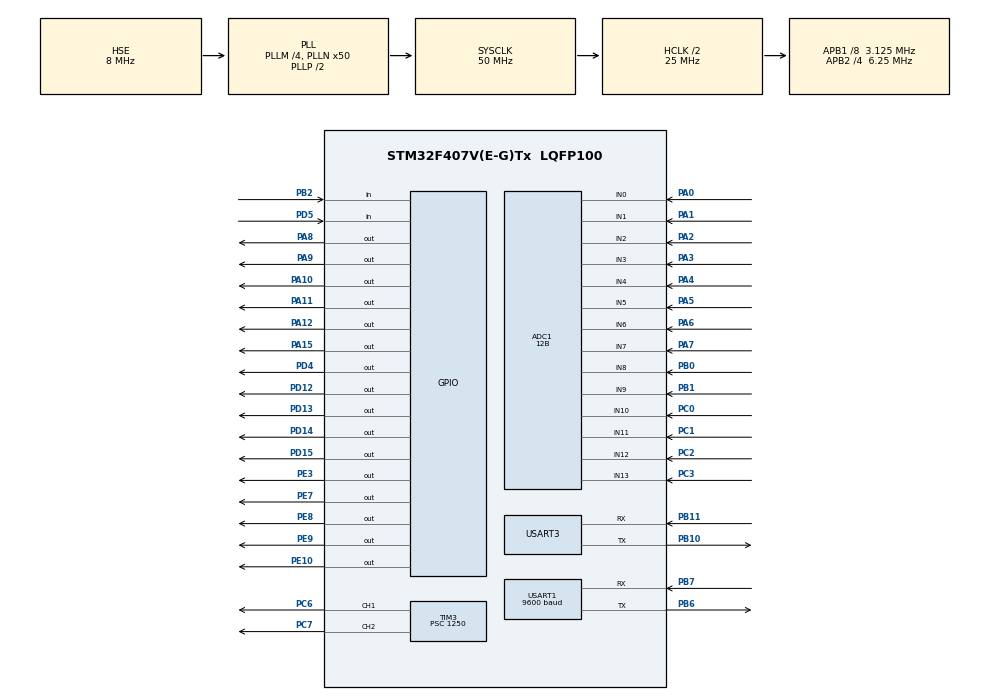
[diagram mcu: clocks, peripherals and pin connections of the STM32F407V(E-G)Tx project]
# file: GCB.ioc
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ADC1.Channel-10\#ChannelRegularConversion=ADC_CHANNEL_2
ADC1.Channel-11\#ChannelRegularConversion=ADC_CHANNEL_3
ADC1.Channel-12\#ChannelRegularConversion=ADC_CHANNEL_4
ADC1.Channel-13\#ChannelRegularConversion=ADC_CHANNEL_5
ADC1.Channel-14\#ChannelRegularConversion=ADC_CHANNEL_6
ADC1.Channel-15\#ChannelRegularConversion=ADC_CHANNEL_7
ADC1.Channel-16\#ChannelRegularConversion=ADC_CHANNEL_8
ADC1.Channel-17\#ChannelRegularConversion=ADC_CHANNEL_9
ADC1.Channel-18\#ChannelRegularConversion=ADC_CHANNEL_10
ADC1.Channel-19\#ChannelRegularConversion=ADC_CHANNEL_11
ADC1.Channel-20\#ChannelRegularConversion=ADC_CHANNEL_12
ADC1.Channel-21\#ChannelRegularConversion=ADC_CHANNEL_13
ADC1.Channel-4\#ChannelRegularConversion=ADC_CHANNEL_0
ADC1.Channel-9\#ChannelRegularConversion=ADC_CHANNEL_1
ADC1.ClockPrescaler=ADC_CLOCK_SYNC_PCLK_DIV2
ADC1.ContinuousConvMode=ENABLE
ADC1.DMAContinuousRequests=ENABLE
ADC1.DataAlign=ADC_DATAALIGN_RIGHT
ADC1.DiscontinuousConvMode=DISABLE
ADC1.EOCSelection=ADC_EOC_SINGLE_CONV
ADC1.EnableAnalogWatchDog=false
ADC1.ExternalTrigConv=ADC_SOFTWARE_START
ADC1.ExternalTrigConvEdge=ADC_EXTERNALTRIGCONVEDGE_NONE
ADC1.InjNumberOfConversion=0
ADC1.NbrOfConversion=14
ADC1.NbrOfConversionFlag=1
ADC1.Rank-10\#ChannelRegularConversion=3
ADC1.Rank-11\#ChannelRegularConversion=4
ADC1.Rank-12\#ChannelRegularConversion=5
ADC1.Rank-13\#ChannelRegularConversion=6
ADC1.Rank-14\#ChannelRegularConversion=7
ADC1.Rank-15\#ChannelRegularConversion=8
ADC1.Rank-16\#ChannelRegularConversion=9
ADC1.Rank-17\#ChannelRegularConversion=10
ADC1.Rank-18\#ChannelRegularConversion=11
ADC1.Rank-19\#ChannelRegularConversion=12
ADC1.Rank-20\#ChannelRegularConversion=13
ADC1.Rank-21\#ChannelRegularConversion=14
ADC1.Rank-4\#ChannelRegularConversion=1
ADC1.Rank-9\#ChannelRegularConversion=2
ADC1.Resolution=ADC_RESOLUTION_12B
ADC1.SamplingTime-10\#ChannelRegularConversion=ADC_SAMPLETIME_84CYCLES
ADC1.SamplingTime-11\#ChannelRegularConversion=ADC_SAMPLETIME_84CYCLES
ADC1.SamplingTime-12\#ChannelRegularConversion=ADC_SAMPLETIME_84CYCLES
ADC1.SamplingTime-13\#ChannelRegularConversion=ADC_SAMPLETIME_84CYCLES
ADC1.SamplingTime-14\#ChannelRegularConversion=ADC_SAMPLETIME_84CYCLES
ADC1.SamplingTime-15\#ChannelRegularConversion=ADC_SAMPLETIME_84CYCLES
ADC1.SamplingTime-16\#ChannelRegularConversion=ADC_SAMPLETIME_84CYCLES
ADC1.SamplingTime-17\#ChannelRegularConversion=ADC_SAMPLETIME_84CYCLES
ADC1.SamplingTime-18\#ChannelRegularConversion=ADC_SAMPLETIME_84CYCLES
ADC1.SamplingTime-19\#ChannelRegularConversion=ADC_SAMPLETIME_84CYCLES
ADC1.SamplingTime-20\#ChannelRegularConversion=ADC_SAMPLETIME_84CYCLES
ADC1.SamplingTime-21\#ChannelRegularConversion=ADC_SAMPLETIME_84CYCLES
ADC1.SamplingTime-4\#ChannelRegularConversion=ADC_SAMPLETIME_84CYCLES
ADC1.SamplingTime-9\#ChannelRegularConversion=ADC_SAMPLETIME_84CYCLES
ADC1.ScanConvMode=ENABLE
ADC1.master=1
Dma.ADC1.0.Direction=DMA_PERIPH_TO_MEMORY
Dma.ADC1.0.FIFOMode=DMA_FIFOMODE_DISABLE
Dma.ADC1.0.Instance=DMA2_Stream0
Dma.ADC1.0.MemDataAlignment=DMA_MDATAALIGN_WORD
Dma.ADC1.0.MemInc=DMA_MINC_ENABLE
Dma.ADC1.0.Mode=DMA_CIRCULAR
Dma.ADC1.0.PeriphDataAlignment=DMA_PDATAALIGN_WORD
Dma.ADC1.0.PeriphInc=DMA_PINC_DISABLE
Dma.ADC1.0.Priority=DMA_PRIORITY_LOW
Dma.Request0=ADC1
Mcu.Family=STM32F4
Mcu.Name=STM32F407V(E-G)Tx
Mcu.Package=LQFP100
NVIC.DMA2_Stream0_IRQn=true\:0\:0\:false\:false\:true\:false
NVIC.PriorityGroup=NVIC_PRIORITYGROUP_0
NVIC.TIM1_BRK_TIM9_IRQn=true\:0\:0\:false\:false\:true\:true
NVIC.TIM1_CC_IRQn=true\:0\:0\:false\:false\:true\:true
NVIC.TIM1_TRG_COM_TIM11_IRQn=true\:0\:0\:false\:false\:true\:true
NVIC.TIM1_UP_TIM10_IRQn=true\:0\:0\:false\:false\:true\:true
NVIC.TIM3_IRQn=true\:0\:0\:false\:false\:true\:true
NVIC.USART1_IRQn=true\:0\:0\:false\:false\:true\:true
NVIC.USART3_IRQn=true\:0\:0\:false\:false\:true\:true
PA0-WKUP.Signal=ADCx_IN0
PA1.Signal=ADCx_IN1
PA10.Signal=GPIO_Output
PA11.Signal=GPIO_Output
PA12.Signal=GPIO_Output
PA13.Signal=SYS_JTMS-SWDIO
PA14.Signal=SYS_JTCK-SWCLK
PA15.Signal=GPIO_Output
PA2.Signal=ADCx_IN2
PA3.Signal=ADCx_IN3
PA4.Signal=ADCx_IN4
PA5.Signal=ADCx_IN5
PA6.Signal=ADCx_IN6
PA7.Signal=ADCx_IN7
PA8.Signal=GPIO_Output
PA9.Signal=GPIO_Output
PB0.Signal=ADCx_IN8
PB1.Signal=ADCx_IN9
PB10.Mode=Asynchronous
PB10.Signal=USART3_TX
PB11.Mode=Asynchronous
PB11.Signal=USART3_RX
PB2.Signal=GPIO_Input
PB3.Signal=SYS_JTDO-SWO
PB6.Mode=Asynchronous
PB6.Signal=USART1_TX
PB7.Mode=Asynchronous
PB7.Signal=USART1_RX
PC0.Signal=ADCx_IN10
PC1.Signal=ADCx_IN11
PC2.Signal=ADCx_IN12
PC3.Signal=ADCx_IN13
PC6.Signal=S_TIM3_CH1
PC7.Signal=S_TIM3_CH2
PD12.Signal=GPIO_Output
PD13.Signal=GPIO_Output
PD14.GPIO_ModeDefaultOutputPP=GPIO_MODE_OUTPUT_PP
PD14.GPIO_PuPd=GPIO_NOPULL
PD14.GPIO_Speed=GPIO_SPEED_FREQ_LOW
PD14.PinState=GPIO_PIN_RESET
PD14.Signal=GPIO_Output
PD15.GPIO_ModeDefaultOutputPP=GPIO_MODE_OUTPUT_PP
PD15.GPIO_PuPd=GPIO_NOPULL
PD15.GPIO_Speed=GPIO_SPEED_FREQ_LOW
PD15.PinState=GPIO_PIN_RESET
PD15.Signal=GPIO_Output
PD4.GPIO_ModeDefaultOutputPP=GPIO_MODE_OUTPUT_PP
PD4.GPIO_PuPd=GPIO_NOPULL
PD4.GPIO_Speed=GPIO_SPEED_FREQ_LOW
PD4.PinState=GPIO_PIN_RESET
PD4.Signal=GPIO_Output
PD5.GPIO_Mode=GPIO_MODE_INPUT
PD5.GPIO_PuPd=GPIO_NOPULL
PD5.Signal=GPIO_Input
PE10.Signal=GPIO_Output
PE3.GPIO_ModeDefaultOutputPP=GPIO_MODE_OUTPUT_PP
PE3.GPIO_PuPd=GPIO_NOPULL
PE3.GPIO_Speed=GPIO_SPEED_FREQ_LOW
PE3.PinState=GPIO_PIN_RESET
PE3.Signal=GPIO_Output
PE7.Signal=GPIO_Output
PE8.Signal=GPIO_Output
PE9.Signal=GPIO_Output
PH0-OSC_IN.Mode=HSE-External-Oscillator
PH0-OSC_IN.Signal=RCC_OSC_IN
PH1-OSC_OUT.Mode=HSE-External-Oscillator
PH1-OSC_OUT.Signal=RCC_OSC_OUT
ProjectManager.HeapSize=0x200
ProjectManager.StackSize=0x400
ProjectManager.TargetToolchain=SW4STM32
RCC.48MHZClocksFreq_Value=14285714.285714285
RCC.AHBCLKDivider=RCC_SYSCLK_DIV2
RCC.AHBFreq_Value=25000000
RCC.APB1CLKDivider=RCC_HCLK_DIV8
RCC.APB1Freq_Value=3125000
RCC.APB1TimFreq_Value=6250000
RCC.APB2CLKDivider=RCC_HCLK_DIV4
RCC.APB2Freq_Value=6250000
RCC.APB2TimFreq_Value=12500000
RCC.CortexFreq_Value=25000000
RCC.HCLKFreq_Value=25000000
RCC.HSE_VALUE=8000000
RCC.HSI_VALUE=16000000
RCC.LSE_VALUE=32768
RCC.PLLM=4
RCC.PLLN=50
RCC.PLLQ=7
RCC.PLLSourceVirtual=RCC_PLLSOURCE_HSE
RCC.SYSCLKFreq_VALUE=50000000
RCC.SYSCLKSource=RCC_SYSCLKSOURCE_PLLCLK
RCC.VCOOutputFreq_Value=100000000
SH.ADCx_IN0.0=ADC1_IN0,IN0
SH.ADCx_IN1.0=ADC1_IN1,IN1
SH.ADCx_IN10.0=ADC1_IN10,IN10
SH.ADCx_IN11.0=ADC1_IN11,IN11
SH.ADCx_IN12.0=ADC1_IN12,IN12
SH.ADCx_IN13.0=ADC1_IN13,IN13
SH.ADCx_IN2.0=ADC1_IN2,IN2
SH.ADCx_IN3.0=ADC1_IN3,IN3
SH.ADCx_IN4.0=ADC1_IN4,IN4
SH.ADCx_IN5.0=ADC1_IN5,IN5
SH.ADCx_IN6.0=ADC1_IN6,IN6
SH.ADCx_IN7.0=ADC1_IN7,IN7
SH.ADCx_IN8.0=ADC1_IN8,IN8
SH.ADCx_IN9.0=ADC1_IN9,IN9
SH.S_TIM3_CH1.0=TIM3_CH1,PWM Generation1 CH1
SH.S_TIM3_CH2.0=TIM3_CH2,PWM Generation2 CH2
TIM1.Period=500
TIM1.Prescaler=25000
TIM3.Channel-PWM\ Generation1\ CH1=TIM_CHANNEL_1
TIM3.Channel-PWM\ Generation2\ CH2=TIM_CHANNEL_2
TIM3.Period=100
TIM3.Prescaler=1250
USART1.BaudRate=9600
USART1.VirtualMode=VM_ASYNC
USART3.VirtualMode=VM_ASYNC
VP_TIM1_VS_ClockSourceINT.Mode=Internal
VP_TIM3_VS_ClockSourceINT.Mode=Internal
board=STM32F4DISCOVERY

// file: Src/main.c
/**
  ******************************************************************************
  * @file           : main.c
  * @brief          : Main program body
  ******************************************************************************
  ** This notice applies to any and all portions of this file
  * that are not between comment pairs USER CODE BEGIN and
  * USER CODE END. Other portions of this file, whether
  * inserted by the user or by software development tools
  * are owned by their respective copyright owners.
  *
  * COPYRIGHT(c) 2018 STMicroelectronics
  *
  * Redistribution and use in source and binary forms, with or without modification,
  * are permitted provided that the following conditions are met:
  *   1. Redistributions of source code must retain the above copyright notice,
  *      this list of conditions and the following disclaimer.
  *   2. Redistributions in binary form must reproduce the above copyright notice,
  *      this list of conditions and the following disclaimer in the documentation
  *      and/or other materials provided with the distribution.
  *   3. Neither the name of STMicroelectronics nor the names of its contributors
  *      may be used to endorse or promote products derived from this software
  *      without specific prior written permission.
  *
  * THIS SOFTWARE IS PROVIDED BY THE COPYRIGHT HOLDERS AND CONTRIBUTORS "AS IS"
  * AND ANY EXPRESS OR IMPLIED WARRANTIES, INCLUDING, BUT NOT LIMITED TO, THE
  * IMPLIED WARRANTIES OF MERCHANTABILITY AND FITNESS FOR A PARTICULAR PURPOSE ARE
  * DISCLAIMED. IN NO EVENT SHALL THE COPYRIGHT HOLDER OR CONTRIBUTORS BE LIABLE
  * FOR ANY DIRECT, INDIRECT, INCIDENTAL, SPECIAL, EXEMPLARY, OR CONSEQUENTIAL
  * DAMAGES (INCLUDING, BUT NOT LIMITED TO, PROCUREMENT OF SUBSTITUTE GOODS OR
  * SERVICES; LOSS OF USE, DATA, OR PROFITS; OR BUSINESS INTERRUPTION) HOWEVER
  * CAUSED AND ON ANY THEORY OF LIABILITY, WHETHER IN CONTRACT, STRICT LIABILITY,
  * OR TORT (INCLUDING NEGLIGENCE OR OTHERWISE) ARISING IN ANY WAY OUT OF THE USE
  * OF THIS SOFTWARE, EVEN IF ADVISED OF THE POSSIBILITY OF SUCH DAMAGE.
  *
  ******************************************************************************
  */
#include "main.h"
#include "stm32f4xx_hal.h"
#include "adc.h"
#include "dma.h"
#include "tim.h"
#include "usart.h"
#include "gpio.h"

/* USER CODE BEGIN Includes */
#include <stdbool.h>
#include "GPS.h"
#include "wifi.h"

/* USER CODE END Includes */

/* USER CODE BEGIN PV */
/* Private variables ---------------------------------------------------------*/
int time = 1;
int lspeed = 0;
int rspeed = 0;
uint8_t GPS_message[33];
uint32_t ADC_value[14] = {0};
uint8_t GPS_rcv = 0;
int x_value = 1;
int y_value = 1;

/* USER CODE END PV */

void SystemClock_Config(void);

/* USER CODE BEGIN PFP */
/* Private function prototypes -----------------------------------------------*/

/* USER CODE END PFP */

/* USER CODE BEGIN 0 */
void HAL_TIM_PeriodElapsedCallback (TIM_HandleTypeDef *htim){
	if( htim->Instance==TIM1 ){
		pwm_CpltCallback();
		  HAL_GPIO_TogglePin(GPIOD,GPIO_PIN_15);
	}
}

void HAL_UART_RxCpltCallback (UART_HandleTypeDef *huart){
  if(huart->Instance==USART1){
	  GPS_RxCpltCallback();
  }
  if(huart->Instance==USART3){
	  wifi_RxCpltCallback();
  }
}

/* USER CODE END 0 */

int main(void)
{

  /* MCU Configuration----------------------------------------------------------*/

  /* Reset of all peripherals, Initializes the Flash interface and the Systick. */
  HAL_Init();

  /* Configure the system clock */
  SystemClock_Config();

  /* Initialize all configured peripherals */
  MX_GPIO_Init();
  MX_DMA_Init();
  MX_TIM1_Init();
  MX_ADC1_Init();
  MX_USART1_UART_Init();
  MX_USART3_UART_Init();
  MX_TIM3_Init();
  /* USER CODE BEGIN 2 */
  HAL_GPIO_WritePin(GPIOA,GPIO_PIN_12,GPIO_PIN_SET);
  HAL_GPIO_WritePin(GPIOA,GPIO_PIN_15,GPIO_PIN_SET);
  HAL_GPIO_WritePin(GPIOA,GPIO_PIN_8,GPIO_PIN_SET);
  HAL_GPIO_WritePin(GPIOA,GPIO_PIN_9,GPIO_PIN_SET);
  HAL_GPIO_WritePin(GPIOA,GPIO_PIN_10,GPIO_PIN_SET);
  tim_Init();
  adc_Init();
  GPS_Init();
  wifi_Init();
//  COMPASS_Init();

  /* USER CODE END 2 */

  /* Infinite loop */
  /* USER CODE BEGIN WHILE */
  while (1)
  {
	  wifi_Check();
	  GPS_Check();
//	  SM_READ();
  }
  /* USER CODE END WHILE */

}

void SystemClock_Config(void)
{

  RCC_OscInitTypeDef RCC_OscInitStruct;
  RCC_ClkInitTypeDef RCC_ClkInitStruct;

    /**Configure the main internal regulator output voltage
    */
  __HAL_RCC_PWR_CLK_ENABLE();

  __HAL_PWR_VOLTAGESCALING_CONFIG(PWR_REGULATOR_VOLTAGE_SCALE1);

    /**Initializes the CPU, AHB and APB busses clocks
    */
  RCC_OscInitStruct.OscillatorType = RCC_OSCILLATORTYPE_HSE;
  RCC_OscInitStruct.HSEState = RCC_HSE_ON;
  RCC_OscInitStruct.PLL.PLLState = RCC_PLL_ON;
  RCC_OscInitStruct.PLL.PLLSource = RCC_PLLSOURCE_HSE;
  RCC_OscInitStruct.PLL.PLLM = 4;
  RCC_OscInitStruct.PLL.PLLN = 50;
  RCC_OscInitStruct.PLL.PLLP = RCC_PLLP_DIV2;
  RCC_OscInitStruct.PLL.PLLQ = 7;
  if (HAL_RCC_OscConfig(&RCC_OscInitStruct) != HAL_OK)
  {
    _Error_Handler(__FILE__, __LINE__);
  }

    /**Initializes the CPU, AHB and APB busses clocks
    */
  RCC_ClkInitStruct.ClockType = RCC_CLOCKTYPE_HCLK|RCC_CLOCKTYPE_SYSCLK
                              |RCC_CLOCKTYPE_PCLK1|RCC_CLOCKTYPE_PCLK2;
  RCC_ClkInitStruct.SYSCLKSource = RCC_SYSCLKSOURCE_PLLCLK;
  RCC_ClkInitStruct.AHBCLKDivider = RCC_SYSCLK_DIV2;
  RCC_ClkInitStruct.APB1CLKDivider = RCC_HCLK_DIV8;
  RCC_ClkInitStruct.APB2CLKDivider = RCC_HCLK_DIV4;

  if (HAL_RCC_ClockConfig(&RCC_ClkInitStruct, FLASH_LATENCY_0) != HAL_OK)
  {
    _Error_Handler(__FILE__, __LINE__);
  }

    /**Configure the Systick interrupt time
    */
  HAL_SYSTICK_Config(HAL_RCC_GetHCLKFreq()/1000);

    /**Configure the Systick
    */
  HAL_SYSTICK_CLKSourceConfig(SYSTICK_CLKSOURCE_HCLK);

  /* SysTick_IRQn interrupt configuration */
  HAL_NVIC_SetPriority(SysTick_IRQn, 0, 0);
}

void _Error_Handler(char *file, int line)
{
  while(1)
  {
  }
}

/************************ (C) COPYRIGHT STMicroelectronics *****END OF FILE****/
